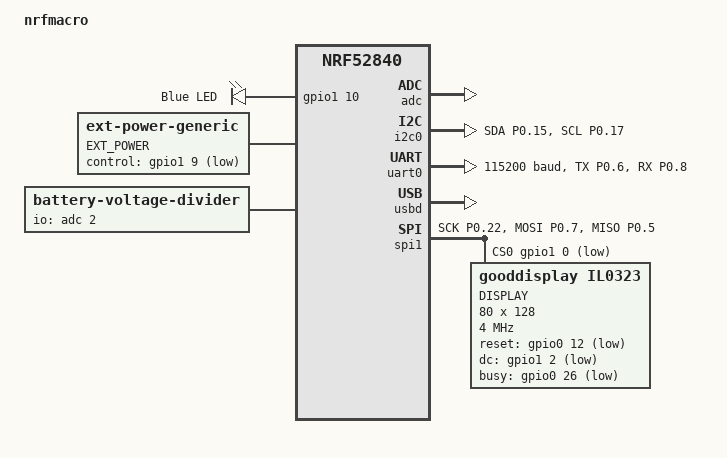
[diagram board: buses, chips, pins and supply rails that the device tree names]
/*
 * Copyright (c) 2020 The ZMK Contributors
 *
 * SPDX-License-Identifier: MIT
 */

/dts-v1/;
#include <nordic/nrf52840_qiaa.dtsi>
#include "arduino_pro_micro_pins.dtsi"

/ {
	model = "nrfmacro";
	compatible = "ufan,nrfmacro";

	chosen {
		zephyr,code-partition = &code_partition;
		zephyr,sram = &sram0;
		zephyr,flash = &flash0;
		zephyr,console = &cdc_acm_uart;
	};

	leds {
		compatible = "gpio-leds";
		blue_led: led_0 {
			gpios = <&gpio1 10 GPIO_ACTIVE_HIGH>;
			label = "Blue LED";
		};
	};

	vcc_ctrl: ext-power {
		compatible = "zmk,ext-power-generic";
		label = "EXT_POWER";
		control-gpios = <&gpio1 9 GPIO_ACTIVE_LOW>;
	};

	vbatt: vbatt {
		compatible = "zmk,battery-voltage-divider";
		label = "BATTERY";
		io-channels = <&adc 2>;
		output-ohms = <2000000>;
		full-ohms = <(2000000 + 820000)>;
	};
};

&adc {
	status = "okay";
};

&gpiote {
	status = "okay";
};

&gpio0 {
	status = "okay";
};

&gpio1 {
	status = "okay";
};

&pinctrl {
	/* UART0 */
	uart0_default: uart0_default {
		group1 {
			psels = <NRF_PSEL(UART_TX, 0, 6)>, /* Port 0, Pin 6 */
			        <NRF_PSEL(UART_RX, 0, 8)>;   /* Port 0, Pin 8 */
		};
	};

	uart0_sleep: uart0_sleep {
		group1 {
			psels = <NRF_PSEL(UART_TX, 0, 6)>,
					<NRF_PSEL(UART_RX, 0, 8)>;
			low-power-enable;
		};
	};

	/* I²C0 */
	i2c0_default: i2c0_default {
		group1 {
			psels = <NRF_PSEL(TWIM_SDA, 0, 15)>, /* SDA on P0.15 */
			        <NRF_PSEL(TWIM_SCL, 0, 17)>; /* SCL on P0.17 */
		};
	};

	i2c0_sleep: i2c0_sleep {
		group1 {
			psels = <NRF_PSEL(TWIM_SDA, 0, 15)>,
					<NRF_PSEL(TWIM_SCL, 0, 17)>;
			low-power-enable;
		};
	};

	/* I²C1 */
	i2c1_default: i2c1_default {
		group1 {
			psels = <NRF_PSEL(TWIM_SDA, 0, 34)>, /* SDA on P0.34 */
			        <NRF_PSEL(TWIM_SCL, 0, 32)>; /* SCL on P0.32 */
		};
	};

	/* SPI1 */
	spi1_default: spi1_default {
		group1 {
			psels = <NRF_PSEL(SPIM_SCK, 0, 22)>, /* SCK P0.22 */
			        <NRF_PSEL(SPIM_MOSI, 0, 7)>, /* MOSI P0.07 */
			        <NRF_PSEL(SPIM_MISO, 0, 5)>; /* MISO P0.05 */
		};
	};
};

&i2c0 {
	compatible = "nordic,nrf-twi";
	// sda-pin = <15>;
	// scl-pin = <17>;
	// status = "okay";
	pinctrl-0 = <&i2c0_default>;
	pinctrl-1 = <&i2c0_sleep>;
	pinctrl-names = "default", "sleep";
};

&uart0 {
	compatible = "nordic,nrf-uarte";
	// tx-pin = <6>;
	// rx-pin = <8>;
	current-speed = <115200>;
	pinctrl-0 = <&uart0_default>;
	pinctrl-1 = <&uart0_sleep>;
	pinctrl-names = "default", "sleep";
};

&usbd {
	status = "okay";
	cdc_acm_uart: cdc_acm_uart {
		compatible = "zephyr,cdc-acm-uart";
		label = "CDC_ACM_0";
	};
};


&flash0 {
	/*
	 * For more information, see:
	 * http: //docs.zephyrproject.org/latest/devices/dts/flash_partitions.html
	 */
	partitions {
		compatible = "fixed-partitions";
		#address-cells = <1>;
		#size-cells = <1>;

		sd_partition: partition@0 {
			label = "softdevice";
			reg = <0x00000000 0x00026000>;
		};
		code_partition: partition@26000 {
			label = "code_partition";
			reg = <0x00026000 0x000c6000>;
		};

		/*
		 * The flash starting at 0x000ec000 and ending at
		 * 0x000f3fff is reserved for use by the application.
		 */

		/*
		 * Storage partition will be used by FCB/LittleFS/NVS
		 * if enabled.
		 */
		storage_partition: partition@ec000 {
			label = "storage";
			reg = <0x000ec000 0x00008000>;
		};

		boot_partition: partition@f4000 {
			label = "adafruit_boot";
			reg = <0x000f4000 0x0000c000>;
		};
	};
};

&spi1 {
	// status = "okay";
	pinctrl-0 = <&spi1_default>;
	pinctrl-names = "default";
	cs-gpios = <&gpio1 0 GPIO_ACTIVE_LOW>;

	epd: il0323@0 {
		compatible = "gooddisplay,il0323";
		reg = <0>;
		spi-max-frequency = <4000000>;
		label = "DISPLAY";

		height = <128>;
		width = <80>;
		reset-gpios = <&gpio0 12 GPIO_ACTIVE_LOW>;
		dc-gpios = <&gpio1 2 GPIO_ACTIVE_LOW>;
		busy-gpios = <&gpio0 26 GPIO_ACTIVE_LOW>;
		pwr = [ 03 00 26 26  ];
		cdi = <0xd2>;
		tcon = <0x22>;
	};
};

&i2c1 {
	status = "disabled";
	pinctrl-0 = <&i2c1_default>;
	pinctrl-names = "default";

	oled: ssd1306@3c {
		compatible = "solomon,ssd1306fb";
		reg = <0x3c>;
		label = "DISPLAY";
		width = <128>;
		height = <32>;
		segment-offset = <0>;
		page-offset = <0>;
		display-offset = <0>;
		multiplex-ratio = <31>;
		segment-remap;
		com-invdir;
		com-sequential;
		prechargep = <0x22>;
	};
};


nrfmacro_spi: &spi1 {};
nrfmacro_i2c: &i2c1 {};

// &pro_micro_spi {
	//     status = "disabled";
	//     sck-pin = <26>;
	//     mosi-pin = <12>;
	//     miso-pin = <7>;
	//     cs-gpios = <&gpio0 22 GPIO_ACTIVE_LOW>;

	//     // trackpad: trackpad@0 {
		//     //     compatible = "cirque,pinnacle";
		//     //     // status = "okay";
		//     //     reg = <0>;
		//     //     label = "cirque trackpad";
		//     //     spi-max-frequency = <1000000>;
		//     //     dr-gpios = <&gpio1 0 GPIO_ACTIVE_HIGH>;
		//     //     invert-x;
		//     //     sleep;
		//     //     /* no-taps; */
	//     // };

	//     trackball: trackball@0 {
		//         compatible = "pixart,pmw33xx";
		//         reg = <0>;
		//         label = "Pixart PMW3360";
		//         cs-gpios = <&gpio0 22 GPIO_ACTIVE_LOW>;
		//         motswk-gpios = <&gpio1 0 (GPIO_ACTIVE_LOW | GPIO_PULL_UP)>;
		//         spi-max-frequency = <2000000>;
		//         cpi = <400>;
	//     };
// };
